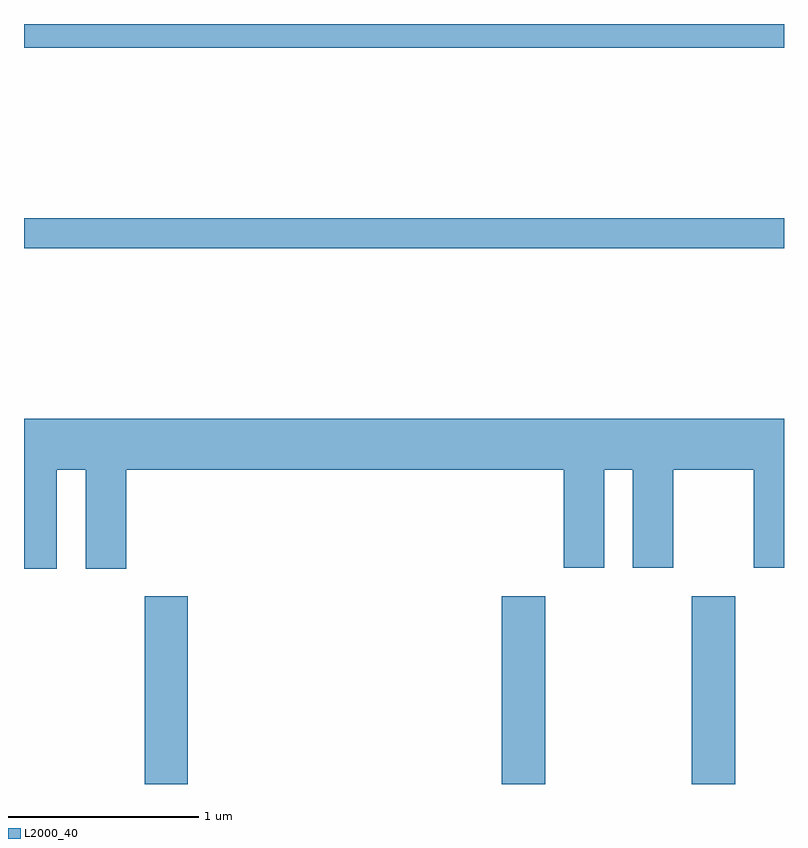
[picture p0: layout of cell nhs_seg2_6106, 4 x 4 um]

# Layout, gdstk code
import gdstk
lib = gdstk.Library(unit=1e-6, precision=1e-09)
def R(c, l, rs):  # rectangles x0, y0, x1, y1
    for r in rs: c.add(gdstk.rectangle(r[:2], r[2:], *l))
def P(c, l, *ps):  # polygons
    for p in ps: c.add(gdstk.Polygon(p, *l))
L2000_40 = (2000, 40)

nhs_seg2_6106 = lib.new_cell('nhs_seg2_6106')
R(nhs_seg2_6106, L2000_40, [(366.246,1017.802,366.474,1018.789), (368.126,1017.802,368.354,1018.789), (369.126,1017.802,369.354,1018.789), (365.611,1020.621,369.611,1020.779), (365.611,1021.676,369.611,1021.802)])
P(nhs_seg2_6106, L2000_40, [(365.784,1019.456),(365.936,1019.456),(365.936,1018.936),(366.149,1018.936),(366.149,1019.456),(368.451,1019.456),(368.451,1018.941),(368.664,1018.941),(368.664,1019.456),(368.816,1019.456),(368.816,1018.941),(369.029,1018.941),(369.029,1019.456),(369.451,1019.456),(369.451,1018.941),(369.611,1018.941),(369.611,1019.724),(365.611,1019.724),(365.611,1018.936),(365.784,1018.936)])

lib.write_gds('nhs_seg2_6106.gds')
